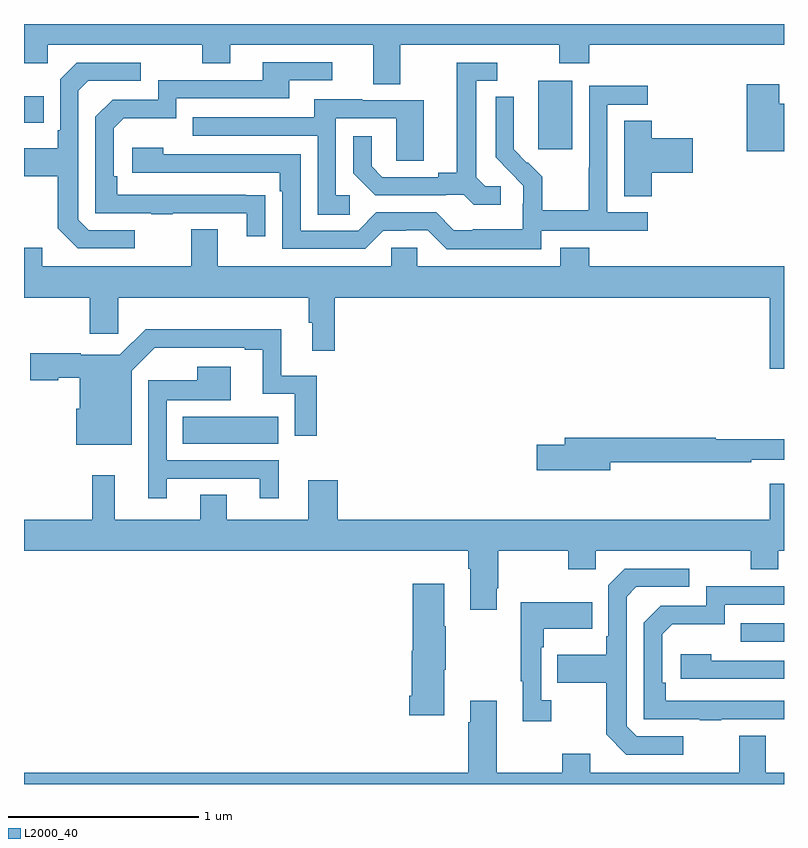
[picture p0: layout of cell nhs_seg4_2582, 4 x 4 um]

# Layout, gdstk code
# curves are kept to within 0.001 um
import gdstk
lib = gdstk.Library(unit=1e-6, precision=1e-09)
def R(c, l, rs):  # rectangles x0, y0, x1, y1
    for r in rs: c.add(gdstk.rectangle(r[:2], r[2:], *l))
def P(c, l, *ps):  # polygons
    for p in ps: c.add(gdstk.Polygon(p, *l))
L2000_40 = (2000, 40)

nhs_seg4_2582 = lib.new_cell('nhs_seg4_2582')
R(nhs_seg4_2582, L2000_40, [(248.773,821.649,249,821.745), (245.836,822.692,246.337,822.832), (247.706,824.241,247.885,824.602), (245,824.381,245.105,824.521)])
P(nhs_seg4_2582, L2000_40, [(245,824.693),(245.124,824.693),(245.124,824.792),(245.938,824.792),(245.938,824.693),(246.085,824.693),(246.085,824.792),(246.839,824.792),(246.839,824.584),(246.979,824.584),(246.979,824.792),(247.816,824.792),(247.816,824.693),(247.976,824.693),(247.976,824.792),(249,824.792),(249,824.9),(245,824.9)],
  [(246.269,824),(245.492,824.001),(245.492,824.098),(245.472,824.098),(245.472,824.352),(245.525,824.405),(245.802,824.405),(245.802,824.508),(246.397,824.508),(246.397,824.604),(246.622,824.604),(246.622,824.7),(246.257,824.7),(246.257,824.604),(245.706,824.604),(245.706,824.502),(245.466,824.502),(245.376,824.412),(245.376,823.905),(245.671,823.905),(245.671,823.9),(245.783,823.9),(245.783,823.905),(246.173,823.905),(246.173,823.782),(246.269,823.782)],
  [(245.584,823.815),(245.34,823.815),(245.286,823.869),(245.286,824.55),(245.337,824.601),(245.614,824.601),(245.614,824.697),(245.277,824.697),(245.19,824.61),(245.19,824.341),(245.178,824.341),(245.178,824.245),(245,824.245),(245,824.098),(245.178,824.098),(245.178,823.825),(245.283,823.719),(245.584,823.719)],
  [(247.51,824.046),(247.428,824.046),(247.381,824.093),(247.381,824.601),(247.492,824.601),(247.492,824.697),(247.277,824.697),(247.277,824.117),(247.181,824.117),(247.181,824.094),(246.886,824.094),(246.829,824.151),(246.829,824.308),(246.732,824.308),(246.732,824.114),(246.848,823.998),(247.22,823.998),(247.22,824.001),(247.314,824.001),(247.366,823.949),(247.51,823.949)],
  [(249,824.479),(248.974,824.479),(248.974,824.584),(248.804,824.584),(248.804,824.231),(249,824.231)],
  [(247.722,823.812),(248.284,823.812),(248.284,823.908),(248.07,823.908),(248.07,824.475),(248.284,824.475),(248.284,824.574),(247.974,824.574),(247.974,824.144),(247.972,824.144),(247.972,823.921),(247.727,823.921),(247.727,824.095),(247.65,824.172),(247.647,824.169),(247.577,824.24),(247.578,824.516),(247.482,824.516),(247.482,824.198),(247.628,824.05),(247.628,823.953),(247.626,823.953),(247.626,823.819),(247.363,823.819),(247.363,823.815),(247.263,823.815),(247.17,823.908),(246.855,823.908),(246.759,823.812),(246.456,823.812),(246.456,824.214),(245.732,824.214),(245.732,824.248),(245.571,824.248),(245.571,824.118),(246.347,824.118),(246.347,824.021),(246.36,824.021),(246.36,823.716),(246.795,823.716),(246.891,823.812),(247.01,823.812),(247.01,823.815),(247.125,823.815),(247.225,823.715),(247.722,823.715)],
  [(246.715,823.998),(246.642,823.998),(246.642,824.403),(246.96,824.403),(246.96,824.179),(247.105,824.179),(247.105,824.499),(246.781,824.499),(246.781,824.503),(246.527,824.503),(246.527,824.409),(245.887,824.409),(245.887,824.313),(246.546,824.313),(246.546,823.897),(246.715,823.897)],
  [(248.303,824.117),(248.521,824.117),(248.521,824.3),(248.303,824.3),(248.303,824.39),(248.159,824.39),(248.159,823.993),(248.303,823.993)],
  [(249,823.624),(247.976,823.624),(247.976,823.723),(247.823,823.723),(247.823,823.624),(247.071,823.624),(247.071,823.722),(246.933,823.722),(246.933,823.624),(246.019,823.624),(246.019,823.819),(245.879,823.819),(245.879,823.624),(245.095,823.624),(245.095,823.723),(245,823.723),(245,823.46),(245.345,823.46),(245.345,823.269),(245.495,823.269),(245.495,823.46),(246.499,823.46),(246.499,823.328),(246.518,823.328),(246.518,823.179),(246.635,823.179),(246.635,823.46),(248.924,823.46),(248.924,823.086),(249,823.086)],
  [(245.566,823.075),(245.687,823.196),(246.161,823.197),(246.161,823.185),(246.257,823.185),(246.257,822.954),(246.426,822.954),(246.426,822.732),(246.542,822.732),(246.542,823.05),(246.355,823.05),(246.355,823.294),(245.641,823.294),(245.505,823.158),(245.298,823.158),(245.298,823.167),(245.034,823.167),(245.034,823.025),(245.18,823.025),(245.18,823.037),(245.294,823.037),(245.294,822.876),(245.276,822.876),(245.276,822.686),(245.566,822.686)],
  [(245.752,822.507),(246.242,822.507),(246.242,822.405),(246.34,822.405),(246.34,822.603),(245.751,822.603),(245.751,822.92),(246.088,822.92),(246.088,823.096),(245.912,823.096),(245.912,823.024),(245.655,823.024),(245.655,822.405),(245.752,822.405)],
  [(248.086,822.594),(248.828,822.594),(248.828,822.606),(249,822.606),(249,822.715),(248.641,822.715),(248.641,822.722),(247.847,822.722),(247.847,822.686),(247.698,822.686),(247.698,822.551),(248.086,822.551)],
  [(247.489,821.929),(247.497,821.929),(247.497,822.128),(247.864,822.128),(247.864,822.029),(248.01,822.029),(248.01,822.128),(248.824,822.128),(248.824,822.029),(248.971,822.029),(248.971,822.128),(249,822.128),(249,822.481),(248.924,822.481),(248.924,822.292),(246.65,822.292),(246.65,822.499),(246.497,822.499),(246.497,822.292),(246.067,822.292),(246.067,822.422),(245.927,822.422),(245.927,822.292),(245.477,822.292),(245.477,822.526),(245.359,822.526),(245.359,822.292),(245,822.292),(245,822.128),(247.337,822.128),(247.337,822.032),(247.349,822.032),(247.349,821.817),(247.489,821.817)],
  [(248.47,821.151),(248.226,821.151),(248.172,821.205),(248.172,821.886),(248.223,821.937),(248.5,821.937),(248.5,822.033),(248.163,822.033),(248.076,821.946),(248.076,821.677),(248.064,821.677),(248.064,821.581),(247.807,821.581),(247.807,821.434),(248.064,821.434),(248.064,821.161),(248.169,821.055),(248.47,821.055)],
  [(247.213,821.501),(247.221,821.501),(247.221,821.729),(247.213,821.729),(247.213,821.953),(247.046,821.953),(247.046,821.601),(247.04,821.601),(247.04,821.365),(247.028,821.365),(247.028,821.261),(247.213,821.261)],
  [(248.669,821.241),(249,821.241),(249,821.337),(248.378,821.337),(248.378,821.434),(248.358,821.434),(248.358,821.688),(248.411,821.741),(248.688,821.741),(248.688,821.844),(249,821.844),(249,821.94),(248.592,821.94),(248.592,821.838),(248.352,821.838),(248.262,821.748),(248.262,821.241),(248.557,821.241),(248.557,821.236),(248.669,821.236)],
  [(247.774,821.342),(247.722,821.342),(247.722,821.621),(247.735,821.621),(247.735,821.717),(247.991,821.717),(247.991,821.857),(247.614,821.857),(247.614,821.441),(247.625,821.441),(247.625,821.229),(247.774,821.229)],
  [(249,821.55),(248.618,821.55),(248.618,821.584),(248.457,821.584),(248.457,821.454),(249,821.454)],
  [(249,820.96),(248.905,820.96),(248.905,821.155),(248.765,821.155),(248.765,820.96),(247.981,820.96),(247.981,821.059),(247.834,821.059),(247.834,820.96),(247.489,820.96),(247.489,821.338),(247.349,821.338),(247.349,821.225),(247.337,821.225),(247.337,820.96),(245,820.96),(245,820.9),(249,820.9)])

lib.write_gds('nhs_seg4_2582.gds')
